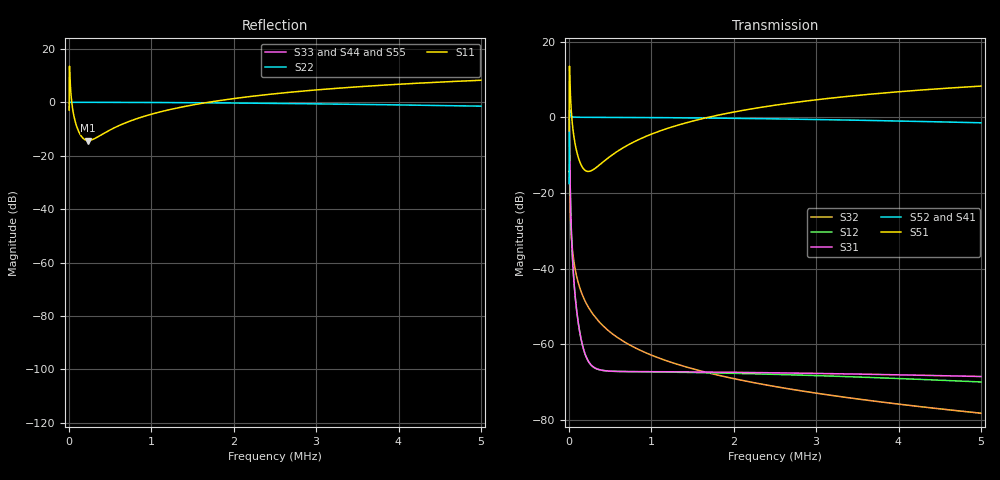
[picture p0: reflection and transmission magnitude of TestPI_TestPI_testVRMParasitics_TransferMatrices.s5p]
! File created by SignalIntegrity v1.5.1: Signal and Power Integrity Tools
! https://github.com/Nubis-Communications/SignalIntegrity
# MHz S MA R 50.0
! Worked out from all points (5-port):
!   10000 points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, 500 Hz to 5 MHz, reference 50 ohm
!   strongest paths, dB at 500 Hz, 1.25 MHz, 2.501 MHz, 3.751 MHz, 5 MHz:
!     S51: -3.6, -2.5, 3.2, 6.3, 8.3
!     S52: -17.6, -0.1, -0.4, -0.9, -1.4
!     S41: -0.6, -0.4, -0.7, -1.1, -1.7
!     S31: -0.5, -67.3, -67.6, -68.0, -68.5
!     S12: -0.5, -67.4, -68.0, -68.9, -70.0
!     S32: -14.5, -64.9, -71.2, -75.2, -78.3
!   lowest |S11| = -14.3 dB at 232 kHz (marker M1), VSWR 1.48, Z = 73.8 - j0.00929 ohm
!   |S11| at or under -10 dB: 103.8 kHz to 520.2 kHz (416.3 kHz wide, 133 % of centre)
